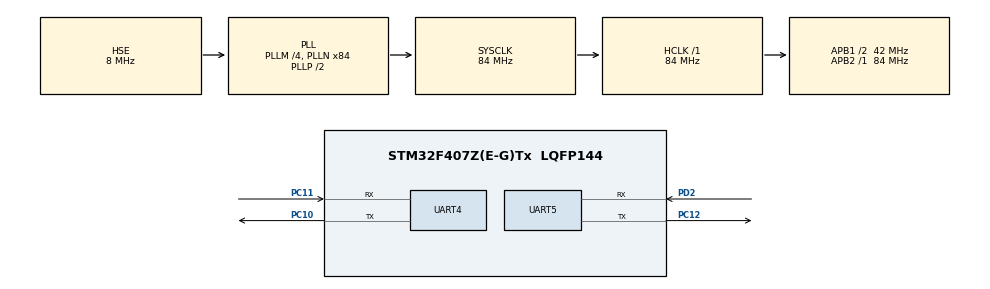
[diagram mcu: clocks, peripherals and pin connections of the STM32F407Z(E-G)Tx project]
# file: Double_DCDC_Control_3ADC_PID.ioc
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Mcu.Family=STM32F4
Mcu.Name=STM32F407Z(E-G)Tx
Mcu.Package=LQFP144
NVIC.PriorityGroup=NVIC_PRIORITYGROUP_4
NVIC.UART5_IRQn=true\:0\:0\:false\:false\:true\:true\:true
PA13.Mode=Serial_Wire
PA13.Signal=SYS_JTMS-SWDIO
PA14.Mode=Serial_Wire
PA14.Signal=SYS_JTCK-SWCLK
PC10.Mode=Asynchronous
PC10.Signal=UART4_TX
PC11.Mode=Asynchronous
PC11.Signal=UART4_RX
PC12.Mode=Asynchronous
PC12.Signal=UART5_TX
PD2.Mode=Asynchronous
PD2.Signal=UART5_RX
PH0-OSC_IN.Mode=HSE-External-Oscillator
PH0-OSC_IN.Signal=RCC_OSC_IN
PH1-OSC_OUT.Mode=HSE-External-Oscillator
PH1-OSC_OUT.Signal=RCC_OSC_OUT
ProjectManager.HeapSize=0x200
ProjectManager.StackSize=0x400
ProjectManager.TargetToolchain=MDK-ARM V5
RCC.48MHZClocksFreq_Value=42000000
RCC.AHBFreq_Value=84000000
RCC.APB1CLKDivider=RCC_HCLK_DIV2
RCC.APB1Freq_Value=42000000
RCC.APB1TimFreq_Value=84000000
RCC.APB2Freq_Value=84000000
RCC.APB2TimFreq_Value=84000000
RCC.CortexFreq_Value=84000000
RCC.HCLKFreq_Value=84000000
RCC.HSE_VALUE=8000000
RCC.HSI_VALUE=16000000
RCC.LSE_VALUE=32768
RCC.PLLM=4
RCC.PLLN=84
RCC.PLLSourceVirtual=RCC_PLLSOURCE_HSE
RCC.SYSCLKFreq_VALUE=84000000
RCC.SYSCLKSource=RCC_SYSCLKSOURCE_PLLCLK
RCC.VCOOutputFreq_Value=168000000
UART4.VirtualMode=Asynchronous
UART5.VirtualMode=Asynchronous
board=custom

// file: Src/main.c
/* USER CODE BEGIN Header */
/**
  ******************************************************************************
  * @file           : main.c
  * @brief          : Main program body
  ******************************************************************************
  * @attention
  *
  * <h2><center>&copy; Copyright (c) 2021 STMicroelectronics.
  * All rights reserved.</center></h2>
  *
  * This software component is licensed by ST under BSD 3-Clause license,
  * the "License"; You may not use this file except in compliance with the
  * License. You may obtain a copy of the License at:
  *                        opensource.org/licenses/BSD-3-Clause
  *
  ******************************************************************************
  */
/* USER CODE END Header */

#include "main.h"
#include "usart.h"
#include "gpio.h"

void SystemClock_Config(void);

/* USER CODE BEGIN 0 */
int Dosomething(uint8_t InstructionsNum[256]);                 //指令处理函数
uint8_t R_alldata[256];   //指令完整内容
uint8_t R_onedata;    //指令单元
uint16_t R_place=0;         //接收指令的位置
/* USER CODE END 0 */

int main(void)
{

  /* MCU Configuration--------------------------------------------------------*/

  /* Reset of all peripherals, Initializes the Flash interface and the Systick. */
  HAL_Init();

  /* Configure the system clock */
  SystemClock_Config();

  /* Initialize all configured peripherals */
  MX_GPIO_Init();
  MX_UART5_Init();
  MX_UART4_Init();
  /* USER CODE BEGIN 2 */
  HAL_UART_Receive_IT(&huart5, (uint8_t *)&R_onedata, 1);
  /* USER CODE END 2 */

  /* Infinite loop */
  while (1)
  {

  }
}

void SystemClock_Config(void)
{
  RCC_OscInitTypeDef RCC_OscInitStruct = {0};
  RCC_ClkInitTypeDef RCC_ClkInitStruct = {0};

  /** Configure the main internal regulator output voltage
  */
  __HAL_RCC_PWR_CLK_ENABLE();
  __HAL_PWR_VOLTAGESCALING_CONFIG(PWR_REGULATOR_VOLTAGE_SCALE1);
  /** Initializes the CPU, AHB and APB busses clocks
  */
  RCC_OscInitStruct.OscillatorType = RCC_OSCILLATORTYPE_HSE;
  RCC_OscInitStruct.HSEState = RCC_HSE_ON;
  RCC_OscInitStruct.PLL.PLLState = RCC_PLL_ON;
  RCC_OscInitStruct.PLL.PLLSource = RCC_PLLSOURCE_HSE;
  RCC_OscInitStruct.PLL.PLLM = 4;
  RCC_OscInitStruct.PLL.PLLN = 84;
  RCC_OscInitStruct.PLL.PLLP = RCC_PLLP_DIV2;
  RCC_OscInitStruct.PLL.PLLQ = 4;
  if (HAL_RCC_OscConfig(&RCC_OscInitStruct) != HAL_OK)
  {
    Error_Handler();
  }
  /** Initializes the CPU, AHB and APB busses clocks
  */
  RCC_ClkInitStruct.ClockType = RCC_CLOCKTYPE_HCLK|RCC_CLOCKTYPE_SYSCLK
                              |RCC_CLOCKTYPE_PCLK1|RCC_CLOCKTYPE_PCLK2;
  RCC_ClkInitStruct.SYSCLKSource = RCC_SYSCLKSOURCE_PLLCLK;
  RCC_ClkInitStruct.AHBCLKDivider = RCC_SYSCLK_DIV1;
  RCC_ClkInitStruct.APB1CLKDivider = RCC_HCLK_DIV2;
  RCC_ClkInitStruct.APB2CLKDivider = RCC_HCLK_DIV1;

  if (HAL_RCC_ClockConfig(&RCC_ClkInitStruct, FLASH_LATENCY_2) != HAL_OK)
  {
    Error_Handler();
  }
}

/* USER CODE BEGIN 4 */

void HAL_UART_RxCpltCallback(UART_HandleTypeDef *huart)
{
			int i;
			int isend=0;
			/* Prevent unused argument(s) compilation warning */
			UNUSED(huart);
			/* NOTE: This function Should not be modified, when the callback is needed,
							 the HAL_UART_TxCpltCallback could be implemented in the user file
			 */
		if(huart == &huart5){
						R_alldata[R_place]=R_onedata;     //保存指令单元
					//如果指令单元为指令头
					if(R_onedata==0xEE){
						R_place++;                                      //开始获取下一个指令单元
					}
					else if(R_place>=1)R_place++;
					//超过五个指令单元后判断是否结束指令
					if(R_place>5){
							if(R_alldata[R_place-1]==0xFF&&R_alldata[R_place-2]==0xFF&&R_alldata[R_place-3]==0xFC&&R_alldata[R_place-4]==0xFF){
								Dosomething(R_alldata);                            //调用指令处理函数
								for(i=0;i<=255;i++)R_alldata[i]=0;            //清空指令
								R_place=0;                                                  //指令位置清零
							}
						}

						R_onedata = 0;                                                                             //清空指令单元，获取下一个指令单元
						HAL_UART_Receive_IT(&huart5, (uint8_t *)&R_onedata, 1);
		}
}

int Dosomething(uint8_t InstructionsNum[256]){
	//如果返回的指令是占空比控制滑块的值
	if(R_alldata[1]==0xB1&&R_alldata[2]==0x11&&R_alldata[3]==0x00&&R_alldata[4]==0x00&&R_alldata[5]==0x00&&R_alldata[6]==0x01&&R_alldata[7]==0x13)
	{
		HAL_UART_Transmit(&huart5, &R_alldata[10],2,5);                //将占空比变量发送给PWM单片机，溢出时间为5ms
	  HAL_UART_Transmit(&huart4, &R_alldata[10],2,5);                //将占空比变量发送给PWM单片机，溢出时间为5ms
	}

}
/* USER CODE END 4 */

void Error_Handler(void)
{
}

/************************ (C) COPYRIGHT STMicroelectronics *****END OF FILE****/
